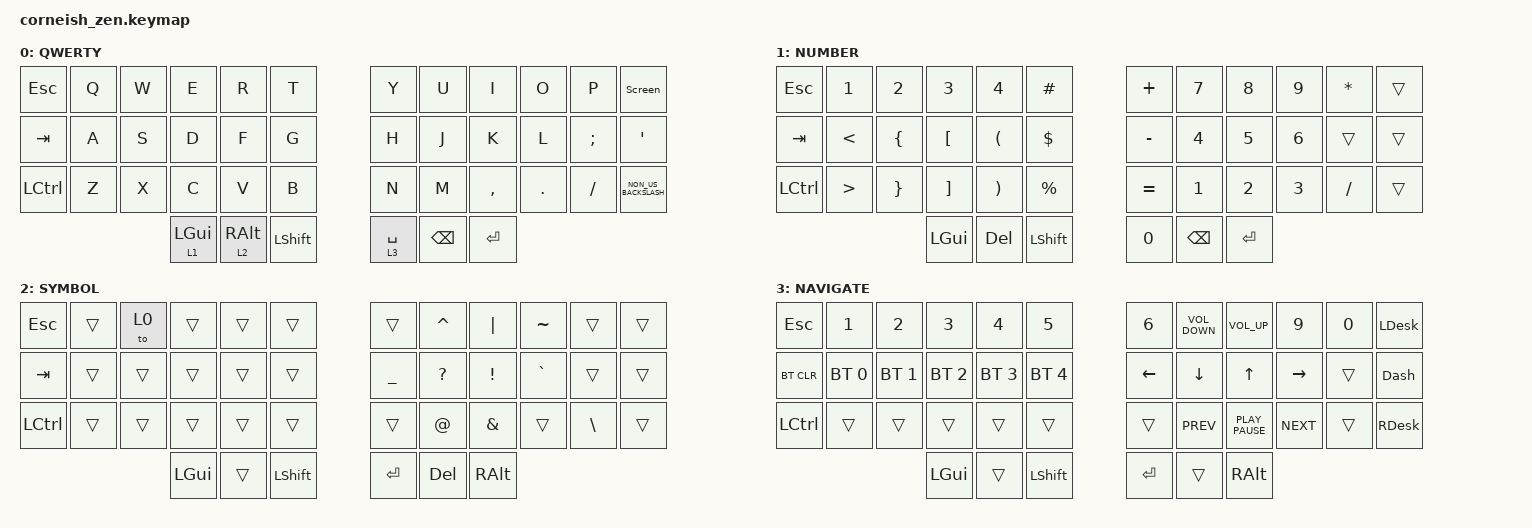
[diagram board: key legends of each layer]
#include <behaviors.dtsi>
#include <dt-bindings/zmk/bt.h>
#include <dt-bindings/zmk/keys.h>

/ {
    chosen {
        zmk,matrix_transform = &default_transform;

        //zmk,matrix_transform = &five_column_transform;
    };
};

/ {
    macros {
        Dash: Dash {
            label = "Dashboard";
            compatible = "zmk,behavior-macro";
            #binding-cells = <0>;
            bindings =
                <&macro_press>,
                <&kp LGUI>,
                <&macro_tap>,
                <&kp TAB>,
                <&macro_release>,
                <&kp LGUI>;
        };

        LDesk: LDesk {
            label = "Left Desk";
            compatible = "zmk,behavior-macro";
            #binding-cells = <0>;
            bindings =
                <&macro_press>,
                <&kp LGUI>,
                <&macro_press>,
                <&kp LCTRL>,
                <&macro_tap>,
                <&kp LEFT_ARROW>,
                <&macro_release>,
                <&kp LGUI>,
                <&macro_release>,
                <&kp LCTRL>;
        };

        RDesk: RDesk {
            label = "Right Desk";
            compatible = "zmk,behavior-macro";
            #binding-cells = <0>;
            bindings =
                <&macro_press>,
                <&kp LGUI>,
                <&macro_press>,
                <&kp LCTRL>,
                <&macro_tap>,
                <&kp RIGHT_ARROW>,
                <&macro_release>,
                <&kp LGUI>,
                <&macro_release>,
                <&kp LCTRL>;
        };

        Screen: Screen {
            label = "Screenshot";
            compatible = "zmk,behavior-macro";
            #binding-cells = <0>;
            bindings =
                <&macro_press>,
                <&kp LGUI>,
                <&macro_press>,
                <&kp LSHFT>,
                <&macro_tap>,
                <&kp S>,
                <&macro_release>,
                <&kp LGUI>,
                <&macro_release>,
                <&kp LSHFT>;
        };
    };
};

/ {
    keymap {
        compatible = "zmk,keymap";

        default_layer {
            label = "QWERTY";

            // -----------------------------------------------------------------------------------------
            // | ESC  |  Q  |  W  |  E  |  R  |  T  |   |  Y  |  U   |  I  |  O  |  P  |      |
            // | TAB  |  A  |  S  |  D  |  F  |  G  |   |  H  |  J   |  K  |  L  |  ;  |  '   |
            // | CTRL |  Z  |  X  |  C  |  V  |  B  |   |  N  |  M   |  ,  |  .  |  /  | SSHOT|
            //                | GUI | ALT | SHFT |        | SPC | BKSP | ENT|

            bindings = <
&kp ESC    &kp Q  &kp W  &kp E       &kp R      &kp T        &kp Y        &kp U     &kp I      &kp O    &kp P     &Screen
&kp TAB    &kp A  &kp S  &kp D       &kp F      &kp G        &kp H        &kp J     &kp K      &kp L    &kp SEMI  &kp SQT
&kp LCTRL  &kp Z  &kp X  &kp C       &kp V      &kp B        &kp N        &kp M     &kp COMMA  &kp DOT  &kp FSLH  &kp NON_US_BACKSLASH
                         &lt 1 LGUI  &lt 2 RALT &kp LSHFT    &lt 3 SPACE  &kp BSPC  &kp RET
            >;
        };

        NumPad {
            label = "NUMBER";

            // -----------------------------------------------------------------------------------------
            // | ESC  |  1  |  2  |  3  |  4  |  #  |    |  +  |  7  |  8  |  9  |  *  |     |
            // | TAB  |     |  {  |  [  |  (  |  $  |    |  -  |  4  |  5  |  6  |     |     |
            // | CTRL |     |  }  |  ]  |  )  |  %  |    |  =  |  1  |  2  |  3  |  /  |     |
            //                | GUI | DEL |SHFT|            | 0  | BKSP| ALT |

            bindings = <
&kp ESC    &kp N1            &kp N2    &kp N3    &kp N4    &kp HASH      &kp PLUS   &kp N7    &kp N8     &kp N9  &kp STAR   &trans
&kp TAB    &kp LESS_THAN     &kp LBRC  &kp LBKT  &kp LPAR  &kp DLLR      &kp MINUS  &kp N4    &kp N5     &kp N6  &trans     &trans
&kp LCTRL  &kp GREATER_THAN  &kp RBRC  &kp RBKT  &kp RPAR  &kp PRCNT     &kp EQUAL  &kp N1    &kp N2     &kp N3  &kp SLASH  &trans
                                       &kp LGUI  &kp DEL   &kp LSHIFT    &kp N0     &kp BSPC  &kp ENTER
            >;
        };

        Symbols {
            label = "SYMBOL";

            // -----------------------------------------------------------------------------------------
            // | ESC  |     |     |     |     |     |   |     |  ^  | "|" |  ~  |     |      |
            // | TAB  |     |     |     |     |     |   |     |  ?  |  !  |  `  |     |      |
            // | CTRL |     |     |     |     |     |   |  _  |  @  |  &  |     |  \  |      |
            //                  | GUI |    | SHFT |          | ENT | DEL | ALT |

            bindings = <
&kp ESC    &trans  &to 0   &trans    &trans  &trans        &trans          &kp CARET  &kp PIPE   &kp TILDE  &trans    &trans
&kp TAB    &trans  &trans  &trans    &trans  &trans        &kp UNDERSCORE  &kp QMARK  &kp EXCL   &kp GRAVE  &trans    &trans
&kp LCTRL  &trans  &trans  &trans    &trans  &trans        &trans          &kp AT     &kp AMPS   &trans     &kp BSLH  &trans
                           &kp LGUI  &trans  &kp LSHIFT    &kp RET         &kp DEL    &kp RALT
            >;
        };

        navigate_layer {
            label = "NAVIGATE";

            // -----------------------------------------------------------------------------------------
            // |  ESC |  1  |  2  |  3  |  4  |  5  |   |  6  |  7  |  8  |  9  |  0  |LDash|
            // | BTCLR| BT1 | BT2 | BT3 | BT4 | BT5 |   | LFT | DWN |  UP | RGT |     |Dash |
            // | CTRL |     |     |     |     |     |   | PREV| PLAY| NXT |     |     |RDash|
            //                  | GUI |     | SHFT |        | ENT |     | ALT |

            bindings = <
&kp ESC     &kp N1        &kp N2        &kp N3        &kp N4        &kp N5          &kp N6    &kp C_VOLUME_DOWN  &kp C_VOLUME_UP   &kp N9      &kp N0  &LDesk
&bt BT_CLR  &bt BT_SEL 0  &bt BT_SEL 1  &bt BT_SEL 2  &bt BT_SEL 3  &bt BT_SEL 4    &kp LEFT  &kp DOWN           &kp UP            &kp RIGHT   &trans  &Dash
&kp LCTRL   &trans        &trans        &trans        &trans        &trans          &trans    &kp C_PREV         &kp K_PLAY_PAUSE  &kp C_NEXT  &trans  &RDesk
                                        &kp LGUI      &trans        &kp LSHIFT      &kp RET   &trans             &kp RALT
            >;
        };
    };
};
